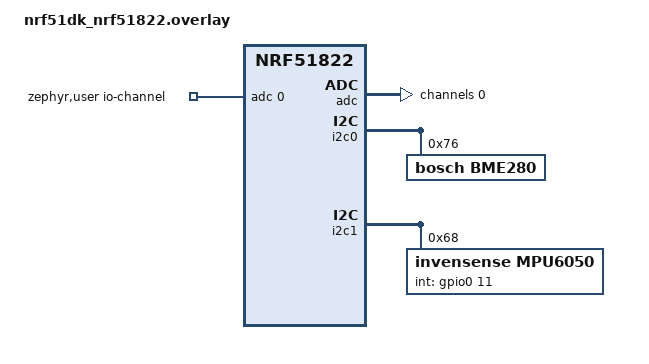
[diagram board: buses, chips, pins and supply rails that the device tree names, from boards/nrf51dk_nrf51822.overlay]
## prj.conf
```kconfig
CONFIG_BT=y
CONFIG_LOG=y

# pairing... i dont think we use it? just leave it on for now
CONFIG_BT_SMP=n

CONFIG_BT_PERIPHERAL=y

# maybe DIS back
CONFIG_BT_DIS=n
CONFIG_BT_DIS_PNP=n

CONFIG_BT_BAS=n
CONFIG_BT_HRS=n
CONFIG_BT_DEVICE_NAME="Baut Sensor"
CONFIG_BT_DEVICE_APPEARANCE=833
CONFIG_ADC=y
# temperature
CONFIG_GPIO=y
CONFIG_I2C=y
CONFIG_SENSOR=y
CONFIG_BME280=y
CONFIG_CBPRINTF_FP_SUPPORT=y

# mpu
CONFIG_MPU6050_TRIGGER_NONE=y
# CONFIG_I2C=y
# CONFIG_SENSOR=y
# CONFIG_CBPRINTF_FP_SUPPORT=y

# CONFIG_GPIO=y
# CONFIG_I2C=y
# CONFIG_SHELL=y
# CONFIG_I2C_SHELL=y
```

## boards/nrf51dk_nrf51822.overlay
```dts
/ {
    zephyr,user {
        io-channels = <&adc 0>;
    };
};
&adc {
    #address-cells = <1>;
    #size-cells = <0>;
    status = "okay";
    channel@0 {
        reg = <0>;
        zephyr,gain = "ADC_GAIN_1_6";
        zephyr,reference = "ADC_REF_INTERNAL";
        zephyr,acquisition-time = <ADC_ACQ_TIME_DEFAULT>;

        zephyr,input-positive = <NRF_SAADC_AIN0>;

        zephyr,resolution = <12>;
    };
};
&i2c0 {
    bme280@76 {
        compatible = "bosch,bme280";
        reg = <0x76>;
        status = "okay";
    };
};
&i2c1 {
	mpu6050@68 {
		compatible = "invensense,mpu6050";
		reg = <0x68>;
		status = "okay";
		int-gpios = <&gpio0 11 GPIO_ACTIVE_HIGH>;
	};
};
```

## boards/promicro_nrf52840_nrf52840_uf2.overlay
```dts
/ {
    zephyr,user {
        io-channels = <&adc 0>;
    };
};
&adc {
    #address-cells = <1>;
    #size-cells = <0>;
    status = "okay";
    channel@0 {
        reg = <0>;
        zephyr,gain = "ADC_GAIN_1_6";
        zephyr,reference = "ADC_REF_INTERNAL";
        zephyr,acquisition-time = <ADC_ACQ_TIME_DEFAULT>;

        zephyr,input-positive = <NRF_SAADC_AIN0>; /* P0.02 for nRF52xx, P0.04 for nRF5340 */
        // for testing, 3.3V:
        // zephyr,input-positive = <NRF_SAADC_VDD>;

        zephyr,resolution = <12>;
    };
};
&i2c0 {
    bme280@76 {
        compatible = "bosch,bme280";
        reg = <0x76>;
        status = "okay";
    };
};
&i2c1 {
	mpu6050@68 {
		compatible = "invensense,mpu6050";
		reg = <0x68>;
		status = "okay";
		int-gpios = <&gpio0 11 GPIO_ACTIVE_HIGH>;
	};
};
```

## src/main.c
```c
/* main.c - Application main entry point */

/*
 * Copyright (c) 2024 Nordic Semiconductor ASA
 * Copyright (c) 2015-2016 Intel Corporation
 *
 * SPDX-License-Identifier: Apache-2.0
 */

#include <zephyr/device.h>
#include <zephyr/devicetree.h>

#include <zephyr/bluetooth/bluetooth.h>
#include <zephyr/bluetooth/hci.h>
#include <zephyr/bluetooth/conn.h>
#include <zephyr/bluetooth/uuid.h>
#include <zephyr/bluetooth/gatt.h>
#include <zephyr/drivers/gpio.h>
#include <zephyr/drivers/adc.h>
#include <zephyr/drivers/sensor.h>
#include <math.h>
#include <zephyr/kernel.h>

// i made this up
#define BT_UUID_MPU BT_UUID_DECLARE_16(0x2f01)

#define BAUT_VOLTAGE
#define BAUT_TEMPERATURE
#define BAUT_MPU

#ifdef BAUT_TEMPERATURE
const struct device *bme280_dev = DEVICE_DT_GET_ANY(bosch_bme280);
static struct sensor_value temperature;
#endif

#ifdef BAUT_MPU
const struct device *const mpu6050 = DEVICE_DT_GET_ONE(invensense_mpu6050);
#endif

static const struct adc_dt_spec adc_channel = ADC_DT_SPEC_GET(DT_PATH(zephyr_user));

// First filtering on central
static const uint8_t custom_uuid[] = {
    0x00, 0x00, 0x2A, 0x6E,
    0x00, 0x00,
    0x10, 0x00,
    0x80, 0x00,
    0x00, 0x80,
    0x5F, 0x9B, 0x34, 0xFB,
};

static const struct bt_data ad[] = {
    BT_DATA_BYTES(BT_DATA_FLAGS, (BT_LE_AD_GENERAL | BT_LE_AD_NO_BREDR)),
    BT_DATA(BT_DATA_UUID128_ALL, custom_uuid, sizeof(custom_uuid)), 
};

static const struct bt_data sd[] = {
    BT_DATA(BT_DATA_NAME_COMPLETE, CONFIG_BT_DEVICE_NAME, sizeof(CONFIG_BT_DEVICE_NAME) - 1),
};

/* Use atomic variable, 2 bits for connection and disconnection state */
static ATOMIC_DEFINE(state, 2U);

#define STATE_CONNECTED    1U
#define STATE_DISCONNECTED 2U

static void connected(struct bt_conn *conn, uint8_t err)
{
    if (err) {
        printk("Connection failed, err 0x%02x %s\n", err, bt_hci_err_to_str(err));
    } else {
        printk("Connected!!!\n");

        (void)atomic_set_bit(state, STATE_CONNECTED);
    }
}

static void disconnected(struct bt_conn *conn, uint8_t reason)
{
    printk("Disconnected, reason 0x%02x %s\n", reason, bt_hci_err_to_str(reason));

    (void)atomic_set_bit(state, STATE_DISCONNECTED);
}

BT_CONN_CB_DEFINE(conn_callbacks) = {
    .connected = connected,
    .disconnected = disconnected,
};

/* The devicetree node identifier for the "led0" alias. */
#define LED0_NODE DT_ALIAS(led0)

#define HAS_LED 1
static const struct gpio_dt_spec led = GPIO_DT_SPEC_GET(LED0_NODE, gpios);
#define BLINK_ONOFF K_MSEC(500)

static struct k_work_delayable blink_work;
static bool led_is_on;

static void blink_timeout(struct k_work *work)
{
    led_is_on = !led_is_on;
    gpio_pin_set(led.port, led.pin, (int)led_is_on);

    k_work_schedule(&blink_work, BLINK_ONOFF);
}

static int blink_setup(void)
{
    int err;

    printk("Checking LED device...");
    if (!gpio_is_ready_dt(&led)) {
        printk("failed.\n");
        return -EIO;
    }
    printk("done.\n");

    printk("Configuring GPIO pin...");
    err = gpio_pin_configure_dt(&led, GPIO_OUTPUT_ACTIVE);
    if (err) {
        printk("failed.\n");
        return -EIO;
    }
    printk("done.\n");

    k_work_init_delayable(&blink_work, blink_timeout);

    return 0;
}

static void blink_start(void)
{
    // printk("Start blinking LED...\n");
    led_is_on = false;
    gpio_pin_set(led.port, led.pin, (int)led_is_on);
    k_work_schedule(&blink_work, BLINK_ONOFF);
}

static void blink_stop(void)
{
    struct k_work_sync work_sync;

    // printk("Stop blinking LED.\n");
    k_work_cancel_delayable_sync(&blink_work, &work_sync);

    /* Keep LED on */
    led_is_on = true;
    gpio_pin_set(led.port, led.pin, (int)led_is_on);
}

int baut_adc_init() {
    if (!adc_is_ready_dt(&adc_channel)) {
        printk("ADC controller devivce %s not ready\n", adc_channel.dev->name);
        return -1;
    }

    int err = adc_channel_setup_dt(&adc_channel);
    if (err) {
        printk("Could not setup channel #%d (%d)\n", 0, err);
        return err;
    }

    return 0;
}

int baut_adc_read(int32_t * mv) {
    int16_t buf;
    struct adc_sequence sequence = {
        .buffer = &buf,
        /* buffer size in bytes, not number of samples */
        .buffer_size = sizeof(buf),
        //Optional
        //.calibrate = true,
    };
    int err = adc_sequence_init_dt(&adc_channel, &sequence);
    if (err) {
        printk("Could not initalize sequnce\n");
        return -1;
    }

    err = adc_read(adc_channel.dev, &sequence);
    if (err) {
        printk("Could not read (%d)\n", err);
        return -1;
    }

    // printk("dbg, %x\n", buf);

    int32_t val_mv = buf;
    err = adc_raw_to_millivolts_dt(&adc_channel, &val_mv);
    if (err) {
        printk("adc_raw_to_millivolts_dt failed: %d\n", err);
        return -1;
    }
    // printk(" = %d mV\n", val_mv);

    // calibrated for first perfboard test
    val_mv *= 6.23;

    *mv = val_mv;
    return 0;
}

static ssize_t vol_read_function(struct bt_conn *conn, const struct bt_gatt_attr *attr, void *buf,
                 uint16_t len, uint16_t offset)
{

    int32_t mv = -1;
    if(baut_adc_read(&mv) == 0) {
        printk("mV = %d\n", mv);
    } else {
        printk("mV failed\n");
        mv = -1;
        // return;
    }

    return bt_gatt_attr_read(conn, attr, buf, len, offset, &mv, sizeof(mv));
}

int baut_bme_init() {
    if(bme280_dev == NULL) {
        printk("BME is missing!\n");
        return -1;
    }

    if (!device_is_ready(bme280_dev)) {
        printk("BME is not ready\n");
        return -1;
    }

    return 0;
}

int baut_bme_read(int32_t * celcius) {
    // we have to retry on EAGAIN (we just do it no matter the error :) )
    int suceeded = false;

    for(int i = 0; i < 10; i ++) {
        // printk("i %d\n", i);
        int err;

        err = sensor_sample_fetch(bme280_dev);
        if(err) {
            if(err != -EAGAIN) {
                printk("BME sample fail: %d\n", err);
            }
            continue;
        }

        err = sensor_channel_get(bme280_dev, SENSOR_CHAN_AMBIENT_TEMP, &temperature);
        if (err) {
            printk("BME channel fail: %d\n", err);
            continue;
        }

        suceeded = true;
        break;
    }

    if(suceeded) {
        // printk("Temperature: %d Celsius\n", temperature.val1);
        *celcius = temperature.val1;	
    }

    return 0;
}


static ssize_t temp_read_function(struct bt_conn *conn, const struct bt_gatt_attr *attr, void *buf,
                  uint16_t len, uint16_t offset)
{

    int32_t celcius = -1;
    if(baut_bme_read(&celcius) == 0) {
        printk("celcius = %d\n", celcius);
    } else {
        printk("celcius failed\n");
        celcius = -1;
        // return;
    }

    return bt_gatt_attr_read(conn, attr, buf, len, offset, &celcius, sizeof(celcius));
}

int baut_mpu_init() {
    if(mpu6050 == NULL) {
        printk("MPU is missing!\n");
        return -1;
    }

    if (!device_is_ready(mpu6050)) {
        printk("MPU is not ready\n");
        return -1;
    }

    return 0;
}

// accel[3] + gyro[3]
int baut_mpu_read(double values[6]) {
    struct sensor_value accel[3];
    struct sensor_value gyro[3];

    int err = sensor_sample_fetch(mpu6050);
    if(err) {
        printf("MPU6050: sample fetch failed: %d\n", err);
        return err;
    }

    err = sensor_channel_get(mpu6050, SENSOR_CHAN_ACCEL_XYZ, accel);
    if(err) {
        printf("MPU6050: accel failed: %d\n", err);
        return err;
    }

    err = sensor_channel_get(mpu6050, SENSOR_CHAN_GYRO_XYZ, gyro);
    if(err) {
        printf("MPU6050: gyro failed: %d\n", err);
        return err;
    }

    values[0] = sensor_value_to_double(&accel[0]);
    values[1] = sensor_value_to_double(&accel[1]);
    values[2] = sensor_value_to_double(&accel[2]);
    values[3] = sensor_value_to_double(&gyro[0]);
    values[4] = sensor_value_to_double(&gyro[1]);
    values[5] = sensor_value_to_double(&gyro[2]);

    // printf(//"[%s]\n"
    // 		"  accel %f %f %f m/s/s\n"
    // 		"  gyro  %f %f %f rad/s\n",
    // 		// now_str(),
    // 		values[0],
    // 		values[1],
    // 		values[2],
    // 		values[3],
    // 		values[4],
    // 		values[5]);

    return 0;
}

static ssize_t mpu_read_function(struct bt_conn *conn, const struct bt_gatt_attr *attr, void *buf,
                  uint16_t len, uint16_t offset)
{

    double values[6];
    if(baut_mpu_read(values) == 0) {
        printk("MPU: read successfully\n");
        // printk("celcius = %d\n", celcius);
    } else {
        printk("MPU: read failed\n");
        // celcius = -1;
        // return;
    }

    return bt_gatt_attr_read(conn, attr, buf, len, offset, &values, sizeof(values));
}

static ssize_t id_read_function(struct bt_conn *conn, const struct bt_gatt_attr *attr, void *buf,
                     uint16_t len, uint16_t offset)
{
    uint8_t sensor_id = 1;

    return bt_gatt_attr_read(conn, attr, buf, len, offset, &sensor_id, sizeof(sensor_id));
}

#ifdef BAUT_VOLTAGE

#define SENSOR_ID_UUID_VAL 0x2c05
/**
 *  @brief GATT Characteristic Voltage
 */
#define SENSOR_ID_UUID \
    BT_UUID_DECLARE_16(SENSOR_ID_UUID_VAL)

BT_GATT_SERVICE_DEFINE(sensor_id_svc,
    BT_GATT_PRIMARY_SERVICE(SENSOR_ID_UUID),

    // Sensor ID characteristic
    BT_GATT_CHARACTERISTIC(SENSOR_ID_UUID, BT_GATT_CHRC_READ, BT_GATT_PERM_READ,
                   id_read_function, NULL, NULL),
);

BT_GATT_SERVICE_DEFINE(vol_svc,
    BT_GATT_PRIMARY_SERVICE(BT_UUID_GATT_V),

    // Voltage reading characteristic
    BT_GATT_CHARACTERISTIC(BT_UUID_GATT_V, BT_GATT_CHRC_READ, BT_GATT_PERM_READ,
        vol_read_function, NULL, NULL),
);
#endif

#ifdef BAUT_TEMPERATURE
BT_GATT_SERVICE_DEFINE(tmp_svc, BT_GATT_PRIMARY_SERVICE(BT_UUID_TEMPERATURE),
               BT_GATT_CHARACTERISTIC(BT_UUID_TEMPERATURE, BT_GATT_CHRC_READ,
                          BT_GATT_PERM_READ, temp_read_function, NULL, NULL), );
#endif

#ifdef BAUT_MPU
BT_GATT_SERVICE_DEFINE(mpu_svc, BT_GATT_PRIMARY_SERVICE(BT_UUID_MPU),
               BT_GATT_CHARACTERISTIC(BT_UUID_MPU, BT_GATT_CHRC_READ,
                          BT_GATT_PERM_READ, mpu_read_function, NULL, NULL), );
#endif


int main(void)
{
    int err;

    err = bt_enable(NULL);
    if (err) {
        printk("Bluetooth init failed (err %d)\n", err);
        return 0;
    }

#ifdef BAUT_VOLTAGE
    // yolo, no error check
    baut_adc_init();
#endif

#ifdef BAUT_TEMPERATURE
    baut_bme_init();
#endif

#ifdef BAUT_MPU
    baut_mpu_init();
#endif

    printk("Bluetooth initialized\n");

    printk("Starting Legacy Advertising (connectable and scannable)\n");
    err = bt_le_adv_start(BT_LE_ADV_CONN_FAST_1, ad, ARRAY_SIZE(ad), sd, ARRAY_SIZE(sd));
    if (err) {
        printk("Advertising failed to start (err %d)\n", err);
        return 0;
    }

    printk("Advertising successfully started\n");

    err = blink_setup();
    if (err) {
        return 0;
    }

    blink_start();

    while (1) {
        k_sleep(K_SECONDS(1));

        if (atomic_test_and_clear_bit(state, STATE_CONNECTED)) {
            /* Connected callback executed */
            blink_stop();
        } else if (atomic_test_and_clear_bit(state, STATE_DISCONNECTED)) {
            printk("Starting Legacy Advertising (connectable and scannable)\n");
            err = bt_le_adv_start(BT_LE_ADV_CONN_FAST_1, ad, ARRAY_SIZE(ad), sd,
                          ARRAY_SIZE(sd));
            if (err) {
                printk("Advertising failed to start (err %d)\n", err);
                return 0;
            }

            blink_start();
        }
    }

    return 0;
}
```
